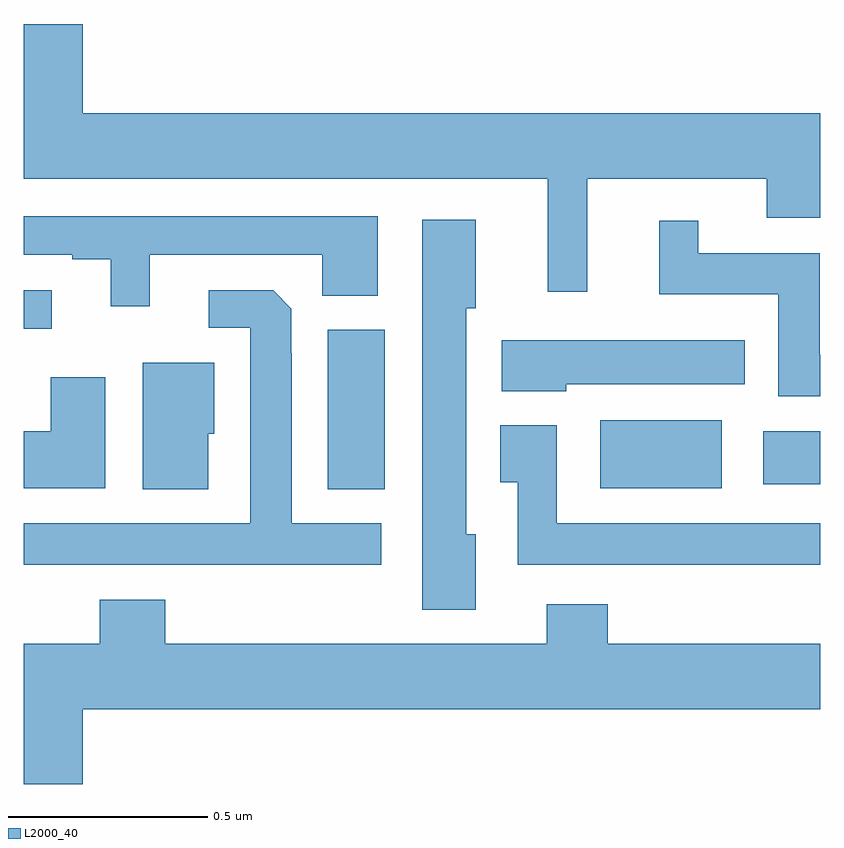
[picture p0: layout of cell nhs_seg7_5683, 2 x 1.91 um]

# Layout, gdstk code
import gdstk
lib = gdstk.Library(unit=1e-6, precision=1e-09)
def R(c, l, rs):  # rectangles x0, y0, x1, y1
    for r in rs: c.add(gdstk.rectangle(r[:2], r[2:], *l))
def P(c, l, *ps):  # polygons
    for p in ps: c.add(gdstk.Polygon(p, *l))
L2000_40 = (2000, 40)

nhs_seg7_5683 = lib.new_cell('nhs_seg7_5683')
R(nhs_seg7_5683, L2000_40, [(189.764,1003.832,189.907,1004.233), (190.448,1003.835,190.753,1004.005), (190.857,1003.844,191,1003.978), (189,1004.235,189.07,1004.331)])
P(nhs_seg7_5683, L2000_40, [(190.415,1004.612),(190.865,1004.612),(190.865,1004.513),(191,1004.513),(191,1004.776),(189.148,1004.776),(189.148,1005),(189,1005),(189,1004.612),(190.316,1004.612),(190.316,1004.328),(190.415,1004.328)],
  [(189.316,1004.421),(189.75,1004.421),(189.75,1004.318),(189.889,1004.318),(189.889,1004.517),(189,1004.517),(189,1004.421),(189.122,1004.421),(189.122,1004.409),(189.218,1004.409),(189.218,1004.292),(189.316,1004.292)],
  [(190.135,1003.719),(190.111,1003.719),(190.111,1004.286),(190.135,1004.286),(190.135,1004.509),(190.001,1004.509),(190.001,1003.529),(190.135,1003.529)],
  [(191,1004.17),(190.999,1004.17),(190.999,1004.425),(190.693,1004.425),(190.693,1004.506),(190.595,1004.506),(190.595,1004.321),(190.895,1004.321),(190.895,1004.066),(191,1004.066)],
  [(189.898,1003.747),(189.673,1003.747),(189.673,1004.174),(189.672,1004.174),(189.672,1004.285),(189.626,1004.331),(189.465,1004.331),(189.465,1004.238),(189.569,1004.238),(189.569,1003.747),(189,1003.747),(189,1003.643),(189.898,1003.643)],
  [(190.362,1004.096),(190.81,1004.096),(190.81,1004.206),(190.2,1004.206),(190.2,1004.078),(190.362,1004.078)],
  [(189.463,1003.971),(189.478,1003.971),(189.478,1004.149),(189.299,1004.149),(189.299,1003.832),(189.463,1003.832)],
  [(189.205,1004.113),(189.068,1004.113),(189.068,1003.978),(189,1003.978),(189,1003.835),(189.205,1003.835)],
  [(191,1003.747),(190.338,1003.747),(190.338,1003.993),(190.196,1003.993),(190.196,1003.849),(190.241,1003.849),(190.241,1003.643),(191,1003.643)],
  [(189.148,1003.28),(191,1003.28),(191,1003.444),(190.466,1003.444),(190.466,1003.543),(190.313,1003.543),(190.313,1003.444),(189.356,1003.444),(189.356,1003.555),(189.191,1003.555),(189.191,1003.444),(189,1003.444),(189,1003.092),(189.148,1003.092)])

lib.write_gds('nhs_seg7_5683.gds')
